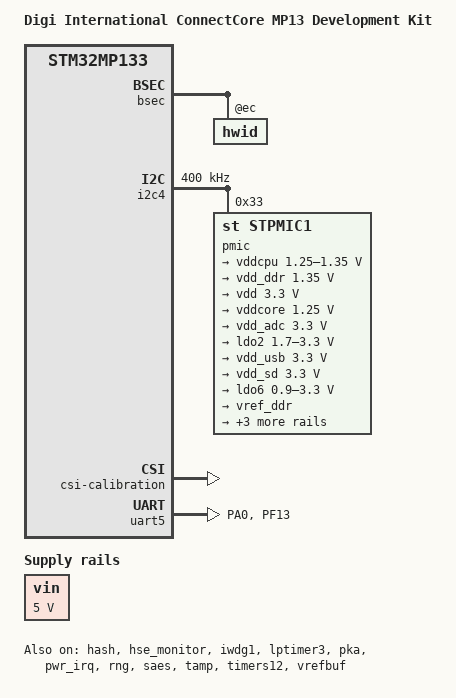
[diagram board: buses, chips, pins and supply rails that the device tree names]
// SPDX-License-Identifier: (GPL-2.0+ OR BSD-3-Clause)
/*
 * Copyright (C) STMicroelectronics 2021 - All Rights Reserved
 * Author: Alexandre Torgue <alexandre.torgue@foss.st.com> for STMicroelectronics.
 * Copyright (C) 2022, Digi International Inc - All Rights Reserved
 */

/dts-v1/;

#include <dt-bindings/clock/stm32mp13-clksrc.h>
#include <dt-bindings/gpio/gpio.h>
#include <dt-bindings/gpio/stm32mp_gpio.h>
#include <dt-bindings/mfd/st,stpmic1.h>
#include <dt-bindings/power/stm32mp1-power.h>
#include <dt-bindings/regulator/st,stm32mp13-regulator.h>
#include <dt-bindings/soc/stm32mp-provisioning.h>
#include <dt-bindings/soc/stm32mp-tzc400-macro.h>
#include <dt-bindings/soc/stm32mp13-tzc400.h>
#include <dt-bindings/tamper/st,stm32mp13-tamp.h>
#include "stm32mp133.dtsi"
#include "stm32mp13xc.dtsi"
#include "stm32mp13-pinctrl.dtsi"

/ {
	model = "Digi International ConnectCore MP13 Development Kit";
	compatible = "digi,ccmp13-dvk", "digi,ccmp13", "st,stm32mp133";

	aliases {
		serial0 = &uart5;
	};

	chosen {
		stdout-path = "serial0:115200n8";
	};

	vin: vin {
		compatible = "regulator-fixed";
		regulator-name = "vin";
		regulator-min-microvolt = <5000000>;
		regulator-max-microvolt = <5000000>;
		regulator-always-on;
	};
};

&bsec {
	hwid: hwid@ec {
		reg = <0xec 0xc>;
		st,non-secure-otp;
	};
};

&cpu0 {
	cpu-supply = <&vddcpu>;
};

&etzpc {
	st,decprot = <
		DECPROT(STM32MP1_ETZPC_ADC1_ID, DECPROT_NS_RW, DECPROT_UNLOCK)
		DECPROT(STM32MP1_ETZPC_ADC2_ID, DECPROT_NS_RW, DECPROT_UNLOCK)
		DECPROT(STM32MP1_ETZPC_BKPSRAM_ID, DECPROT_S_RW, DECPROT_UNLOCK)
		DECPROT(STM32MP1_ETZPC_CRYP_ID, DECPROT_S_RW, DECPROT_UNLOCK)
		DECPROT(STM32MP1_ETZPC_DCMIPP_ID, DECPROT_NS_RW, DECPROT_UNLOCK)
		DECPROT(STM32MP1_ETZPC_DDRCTRLPHY_ID, DECPROT_NS_R_S_W, DECPROT_UNLOCK)
		DECPROT(STM32MP1_ETZPC_ETH1_ID, DECPROT_NS_RW, DECPROT_UNLOCK)
		DECPROT(STM32MP1_ETZPC_ETH2_ID, DECPROT_NS_RW, DECPROT_UNLOCK)
		DECPROT(STM32MP1_ETZPC_FMC_ID, DECPROT_NS_RW, DECPROT_UNLOCK)
		DECPROT(STM32MP1_ETZPC_HASH_ID, DECPROT_S_RW, DECPROT_UNLOCK)
		DECPROT(STM32MP1_ETZPC_I2C3_ID, DECPROT_NS_RW, DECPROT_UNLOCK)
		DECPROT(STM32MP1_ETZPC_I2C4_ID, DECPROT_S_RW, DECPROT_UNLOCK)
		DECPROT(STM32MP1_ETZPC_I2C5_ID, DECPROT_NS_RW, DECPROT_UNLOCK)
		DECPROT(STM32MP1_ETZPC_IWDG1_ID, DECPROT_S_RW, DECPROT_UNLOCK)
		DECPROT(STM32MP1_ETZPC_LPTIM2_ID, DECPROT_NS_RW, DECPROT_UNLOCK)
		DECPROT(STM32MP1_ETZPC_LPTIM3_ID, DECPROT_S_RW, DECPROT_UNLOCK)
		DECPROT(STM32MP1_ETZPC_LTDC_ID, DECPROT_S_RW, DECPROT_UNLOCK)
		DECPROT(STM32MP1_ETZPC_MCE_ID, DECPROT_S_RW, DECPROT_UNLOCK)
		DECPROT(STM32MP1_ETZPC_OTG_ID, DECPROT_NS_RW, DECPROT_UNLOCK)
		DECPROT(STM32MP1_ETZPC_PKA_ID, DECPROT_S_RW, DECPROT_UNLOCK)
		DECPROT(STM32MP1_ETZPC_QSPI_ID, DECPROT_NS_RW, DECPROT_UNLOCK)
		DECPROT(STM32MP1_ETZPC_RNG_ID, DECPROT_S_RW, DECPROT_UNLOCK)
		DECPROT(STM32MP1_ETZPC_SAES_ID, DECPROT_S_RW, DECPROT_UNLOCK)
		DECPROT(STM32MP1_ETZPC_SDMMC1_ID, DECPROT_NS_RW, DECPROT_UNLOCK)
		DECPROT(STM32MP1_ETZPC_SDMMC2_ID, DECPROT_NS_RW, DECPROT_UNLOCK)
		DECPROT(STM32MP1_ETZPC_SPI4_ID, DECPROT_NS_RW, DECPROT_UNLOCK)
		DECPROT(STM32MP1_ETZPC_SPI5_ID, DECPROT_NS_RW, DECPROT_UNLOCK)
		DECPROT(STM32MP1_ETZPC_SRAM1_ID, DECPROT_NS_RW, DECPROT_UNLOCK)
		DECPROT(STM32MP1_ETZPC_SRAM2_ID, DECPROT_NS_RW, DECPROT_UNLOCK)
		DECPROT(STM32MP1_ETZPC_SRAM3_ID, DECPROT_S_RW, DECPROT_UNLOCK)
		DECPROT(STM32MP1_ETZPC_STGENC_ID, DECPROT_S_RW, DECPROT_UNLOCK)
		DECPROT(STM32MP1_ETZPC_TIM12_ID, DECPROT_S_RW, DECPROT_UNLOCK)
		DECPROT(STM32MP1_ETZPC_TIM13_ID, DECPROT_NS_RW, DECPROT_UNLOCK)
		DECPROT(STM32MP1_ETZPC_TIM14_ID, DECPROT_NS_RW, DECPROT_UNLOCK)
		DECPROT(STM32MP1_ETZPC_TIM15_ID, DECPROT_S_RW, DECPROT_UNLOCK)
		DECPROT(STM32MP1_ETZPC_TIM16_ID, DECPROT_NS_RW, DECPROT_UNLOCK)
		DECPROT(STM32MP1_ETZPC_TIM17_ID, DECPROT_NS_RW, DECPROT_UNLOCK)
		DECPROT(STM32MP1_ETZPC_USART1_ID, DECPROT_NS_RW, DECPROT_UNLOCK)
		DECPROT(STM32MP1_ETZPC_USART2_ID, DECPROT_NS_RW, DECPROT_UNLOCK)
		DECPROT(STM32MP1_ETZPC_USBPHYCTRL_ID, DECPROT_NS_RW, DECPROT_UNLOCK)
		DECPROT(STM32MP1_ETZPC_VREFBUF_ID, DECPROT_S_RW, DECPROT_UNLOCK)
	>;
};

&gpiob {
	st,protreg = < (TZPROT(9)) >;
};

&gpioe {
	st,protreg = < (TZPROT(15)) >;
};

&gpiof {
	st,protreg = < (TZPROT(8)) >;
};

&hash {
	status = "okay";
};

&hse_monitor {
	status = "okay";
};

&i2c4 {
	pinctrl-names = "default";
	pinctrl-0 = <&i2c4_pins_a>;
	i2c-scl-rising-time-ns = <185>;
	i2c-scl-falling-time-ns = <20>;
	clock-frequency = <400000>;
	status = "okay";

	pmic: stpmic@33 {
		compatible = "st,stpmic1";
		reg = <0x33>;
		status = "okay";
		wakeup-parent = <&pwr_irq>;
		st,wakeup-pin-number = <1>;
		st,pmic-it-id = <IT_PONKEY_F IT_PONKEY_R>;
		st,notif-it-id = <0 1>;

		regulators {
			compatible = "st,stpmic1-regulators";
			buck1-supply = <&vin>;
			buck2-supply = <&vin>;
			buck3-supply = <&vin>;
			buck4-supply = <&vin>;
			ldo1-supply = <&vin>;
			ldo2-supply = <&vin>;
			/*
			 * LDO3 is wrongly fed from vdd_ddr.
			 * It must not be used until fixed in the next spin
			 * of the SOM.
			 */
			//ldo3-supply = <&vdd_ddr>;
			ldo4-supply = <&vin>;
			ldo5-supply = <&vin>;
			ldo6-supply = <&vin>;
			vref_ddr-supply = <&vin>;
			boost-supply = <&vin>;
			pwr_sw1-supply = <&bst_out>;
			pwr_sw2-supply = <&bst_out>;

			vddcpu: buck1 {
				regulator-name = "vddcpu";
				regulator-min-microvolt = <1250000>;
				regulator-max-microvolt = <1350000>;
				regulator-always-on;
				regulator-over-current-protection;

				lp-stop {
					regulator-suspend-microvolt = <1250000>;
				};
				lplv-stop {
					regulator-suspend-microvolt = <900000>;
				};
				lplv-stop2 {
					regulator-off-in-suspend;
				};
				standby-ddr-sr {
					regulator-off-in-suspend;
				};
				standby-ddr-off {
					regulator-off-in-suspend;
				};
			};

			vdd_ddr: buck2 {
				regulator-name = "vdd_ddr";
				regulator-min-microvolt = <1350000>;
				regulator-max-microvolt = <1350000>;
				regulator-always-on;
				regulator-over-current-protection;

				standby-ddr-off {
					regulator-off-in-suspend;
				};
			};

			vdd: buck3 {
				regulator-name = "vdd";
				regulator-min-microvolt = <3300000>;
				regulator-max-microvolt = <3300000>;
				regulator-always-on;
				st,mask-reset;
				regulator-over-current-protection;
			};

			vddcore: buck4 {
				regulator-name = "vddcore";
				regulator-min-microvolt = <1250000>;
				regulator-max-microvolt = <1250000>;
				regulator-always-on;
				regulator-over-current-protection;

				lplv-stop {
					regulator-suspend-microvolt = <900000>;
				};
				lplv-stop2 {
					regulator-suspend-microvolt = <900000>;
				};
				standby-ddr-sr {
					regulator-off-in-suspend;
				};
				standby-ddr-off {
					regulator-off-in-suspend;
				};
			};

			vdd_adc: ldo1 {
				regulator-name = "vdd_adc";
				regulator-min-microvolt = <3300000>;
				regulator-max-microvolt = <3300000>;

				standby-ddr-sr {
					regulator-off-in-suspend;
				};
				standby-ddr-off {
					regulator-off-in-suspend;
				};
			};

			ldo2: ldo2 {
				regulator-name = "ldo2";
				regulator-min-microvolt = <1700000>;
				regulator-max-microvolt = <3300000>;

				standby-ddr-sr {
					regulator-off-in-suspend;
				};
				standby-ddr-off {
					regulator-off-in-suspend;
				};
			};

			/*
			 * LDO3 is wrongly fed from vdd_ddr.
			 * It must not be used until fixed in the next spin
			 * of the SOM.
			 */
			/*
			ldo3: ldo3 {
				regulator-name = "ldo3";
				regulator-min-microvolt = <1800000>;
				regulator-max-microvolt = <3300000>;

				standby-ddr-off {
					regulator-off-in-suspend;
				};
			};
			*/

			vdd_usb: ldo4 {
				regulator-name = "vdd_usb";
				regulator-min-microvolt = <3300000>;
				regulator-max-microvolt = <3300000>;

				standby-ddr-sr {
					regulator-off-in-suspend;
				};
				standby-ddr-off {
					regulator-off-in-suspend;
				};
			};

			vdd_sd: ldo5 {
				regulator-name = "vdd_sd";
				regulator-min-microvolt = <3300000>;
				regulator-max-microvolt = <3300000>;
				regulator-boot-on;

				standby-ddr-sr {
					regulator-off-in-suspend;
				};
				standby-ddr-off {
					regulator-off-in-suspend;
				};
			};

			ldo6: ldo6 {
				regulator-name = "ldo6";
				regulator-min-microvolt = <900000>;
				regulator-max-microvolt = <3300000>;

				standby-ddr-sr {
					regulator-off-in-suspend;
				};
				standby-ddr-off {
					regulator-off-in-suspend;
				};
			};

			vref_ddr: vref_ddr {
				regulator-name = "vref_ddr";
				regulator-always-on;

				standby-ddr-sr {
					regulator-off-in-suspend;
				};
				standby-ddr-off {
					regulator-off-in-suspend;
				};
			};

			bst_out: boost {
				regulator-name = "bst_out";
			};

			vbus_otg: pwr_sw1 {
				regulator-name = "vbus_otg";
				regulator-min-microvolt = <5200000>;
				regulator-max-microvolt = <5200000>;
			};

			vbus_sw: pwr_sw2 {
				regulator-name = "vbus_sw";
				regulator-active-discharge = <1>;
				regulator-min-microvolt = <5200000>;
				regulator-max-microvolt = <5200000>;
			};
		};
	};
};

&iwdg1 {
	timeout-sec = <32>;
	status = "okay";
};

&lptimer3 {
	status = "okay";

	counter {
		status = "okay";
	};
};

&oem_enc_key {
	st,non-secure-otp-provisioning;
};

&osc_calibration {
	csi-calibration {
		status = "okay";
	};

	hsi-calibration {
		status = "okay";
	};
};

&pka {
	status = "okay";
};

&pwr_irq {
	status = "okay";
	wakeup-gpios = <&gpiof 8 GPIO_ACTIVE_HIGH>;
};

&pwr_regulators {
	system_suspend_supported_soc_modes = <
		STM32_PM_CSLEEP_RUN
		STM32_PM_CSTOP_ALLOW_LP_STOP
		STM32_PM_CSTOP_ALLOW_LPLV_STOP
		STM32_PM_CSTOP_ALLOW_LPLV_STOP2
		STM32_PM_CSTOP_ALLOW_STANDBY_DDR_SR
	>;

	system_off_soc_mode = <STM32_PM_SHUTDOWN>;
	vdd-supply = <&vdd>;
	vdd_3v3_usbfs-supply = <&vdd_usb>;
};

&rcc {
	compatible = "st,stm32mp13-rcc", "syscon", "st,stm32mp13-rcc-mco";

	st,clksrc = <
		CLK_MPU_PLL1P
		CLK_AXI_PLL2P
		CLK_MLAHBS_PLL3
		CLK_RTC_LSE
		CLK_MCO1_HSE
		CLK_MCO2_DISABLED
		CLK_CKPER_HSE
		CLK_ETH1_PLL4P
		CLK_ETH2_PLL4P
		CLK_SDMMC1_PLL4P
		CLK_SDMMC2_PLL4P
		CLK_STGEN_HSE
		CLK_USBPHY_HSE
		CLK_I2C4_HSI
		CLK_I2C5_HSI
		CLK_USBO_USBPHY
		CLK_ADC2_CKPER
		CLK_I2C12_HSI
		CLK_UART1_HSI
		CLK_UART2_HSI
		CLK_UART35_HSI
		CLK_UART4_HSI
		CLK_UART6_HSI
		CLK_UART78_HSI
		CLK_SAES_AXI
		CLK_DCMIPP_PLL2Q
		CLK_LPTIM3_PCLK3
		CLK_RNG1_PLL4R
	>;

	st,clkdiv = <
		DIV(DIV_MPU, 1)
		DIV(DIV_AXI, 0)
		DIV(DIV_MLAHB, 0)
		DIV(DIV_APB1, 1)
		DIV(DIV_APB2, 1)
		DIV(DIV_APB3, 1)
		DIV(DIV_APB4, 1)
		DIV(DIV_APB5, 2)
		DIV(DIV_APB6, 1)
		DIV(DIV_RTC, 0)
		DIV(DIV_MCO1, 0)
		DIV(DIV_MCO2, 0)
	>;

	st,pll_vco {
		pll1_vco_2000Mhz: pll1-vco-2000Mhz {
			src = <CLK_PLL12_HSE>;
			divmn = <1 82>;
			frac = <0xAAA>;
		};

		pll1_vco_1300Mhz: pll1-vco-1300Mhz {
			src = <CLK_PLL12_HSE>;
			divmn = <2 80>;
			frac = <0x800>;
		};

		pll2_vco_1066Mhz: pll2-vco-1066Mhz {
			src = <CLK_PLL12_HSE>;
			divmn = <2 65>;
			frac = <0x1400>;
		};

		pll3_vco_417_8Mhz: pll3-vco-417_8Mhz {
			src = <CLK_PLL3_HSE>;
			divmn = <1 33>;
			frac = <0x1a04>;
		};

		pll4_vco_600Mhz: pll4-vco-600Mhz {
			src = <CLK_PLL4_HSE>;
			divmn = <1 49>;
		};
	};

	/* VCO = 1300.0 MHz => P = 650 (CPU) */
	pll1:st,pll@0 {
		compatible = "st,stm32mp1-pll";
		reg = <0>;

		st,pll = <&pll1_cfg1>;

		pll1_cfg1: pll1_cfg1 {
			st,pll_vco = <&pll1_vco_1300Mhz>;
			st,pll_div_pqr = <0 1 1>;
		};
	};

	/* VCO = 1066.0 MHz => P = 266 (AXI), Q = 266, R = 533 (DDR) */
	pll2:st,pll@1 {
		compatible = "st,stm32mp1-pll";
		reg = <1>;

		st,pll = < &pll2_cfg1 >;

		pll2_cfg1: pll2_cfg1 {
			st,pll_vco = < &pll2_vco_1066Mhz >;
			st,pll_div_pqr = < 1 1 0 >;
		};
	};

	/* VCO = 417.8 MHz => P = 209, Q = 12.28, R = 11 */
	pll3:st,pll@2 {
		compatible = "st,stm32mp1-pll";
		reg = <2>;

		st,pll = < &pll3_cfg1 >;

		pll3_cfg1: pll3_cfg1 {
			st,pll_vco = < &pll3_vco_417_8Mhz >;
			st,pll_div_pqr = < 1 33 36 >;
		};
	};

	/* VCO = 600.0 MHz => P = 50, Q = 10, R = 50 */
	pll4:st,pll@3 {
		compatible = "st,stm32mp1-pll";
		reg = <3>;
		st,pll = < &pll4_cfg1 >;

		pll4_cfg1: pll4_cfg1 {
			st,pll_vco = < &pll4_vco_600Mhz >;
			st,pll_div_pqr = < 11 59 11 >;
		};
	};

	st,clk_opp {
		/* CK_MPU clock config for MP13 */
		st,ck_mpu {

			cfg_1 {
				hz = < 650000000 >;
				st,clksrc = < CLK_MPU_PLL1P >;
				st,pll = < &pll1_cfg1 >;
			};
		};
	};

	st,rcc {
		compatible = "st,rcc";
	};
};

&rng {
	status = "okay";
	clock-error-detect;
};

&saes {
	status = "okay";
};

&scmi_regu {
	voltd-vrefbuf {
		reg = <VOLTD_SCMI_VREFBUF>;
		voltd-supply = <&vrefbuf>;
	};
	voltd-vddcpu {
		reg = <VOLTD_SCMI_STPMIC1_BUCK1>;
		voltd-supply = <&vddcpu>;
	};
	voltd-vdd_ddr {
		reg = <VOLTD_SCMI_STPMIC1_BUCK2>;
		voltd-supply = <&vdd_ddr>;
	};
	voltd-vdd {
		reg = <VOLTD_SCMI_STPMIC1_BUCK3>;
		voltd-supply = <&vdd>;
	};
	voltd-vddcore {
		reg = <VOLTD_SCMI_STPMIC1_BUCK4>;
		voltd-supply = <&vddcore>;
	};
	voltd-vdd_adc {
		reg = <VOLTD_SCMI_STPMIC1_LDO1>;
		voltd-supply = <&vdd_adc>;
	};
	voltd-ldo2 {
		reg = <VOLTD_SCMI_STPMIC1_LDO2>;
		voltd-supply = <&ldo2>;
	};
	voltd-vdd_usb {
		reg = <VOLTD_SCMI_STPMIC1_LDO4>;
		voltd-supply = <&vdd_usb>;
	};
	voltd-vdd_sd {
		reg = <VOLTD_SCMI_STPMIC1_LDO5>;
		voltd-supply = <&vdd_sd>;
	};
	voltd-ldo6 {
		reg = <VOLTD_SCMI_STPMIC1_LDO6>;
		voltd-supply = <&ldo6>;
	};
	voltd-vbus_otg {
		reg = <VOLTD_SCMI_STPMIC1_PWR_SW1>;
		voltd-supply = <&vbus_otg>;
	};
	voltd-vbus_sw {
		reg = <VOLTD_SCMI_STPMIC1_PWR_SW2>;
		voltd-supply = <&vbus_sw>;
	};
};

&sdmmc1_io {
	vddsd1-supply = <&vdd_sd>;
};

&sdmmc2_io {
	vddsd2-supply = <&vdd>;
};

&tamp {
	status = "okay";
	st,tamp_passive_nb_sample = <4>;
	st,tamp_passive_sample_clk_div = <16384>;

	tamp_passive@7 {
		pinctrl-0 = <&ccmp13_tamp0_in7_pin_a>;
		st,trig_on;
		status = "disabled";
	};
};

&timers12 {
	status = "okay";

	counter {
		status = "okay";
	};
};

&tzc400 {
	memory-region =	<&optee_framebuffer>;
};

&uart5 {
	pinctrl-names = "default";
	pinctrl-0 = <&uart5_pins_a>;
	status = "okay";
};

&vrefbuf {
	vdda-supply = <&vdd_adc>;
	status = "okay";
};

&pinctrl {
	ccmp13_tamp0_in7_pin_a: ccmp13_tamp0_in7_pin_0 {
		pins {
			pinmux = <STM32_PINMUX('B', 2, RSVD)>;
			st,tamp_id = <7>;
		};
	};

	uart5_pins_a: uart5-0 {
		pins1 {
			pinmux = <STM32_PINMUX('A', 0, AF8)>; /* UART5_TX */
			bias-disable;
			drive-push-pull;
			slew-rate = <0>;
		};
		pins2 {
			pinmux = <STM32_PINMUX('F', 13, AF8)>; /* UART5_RX */
			bias-disable;
		};
	};
};
